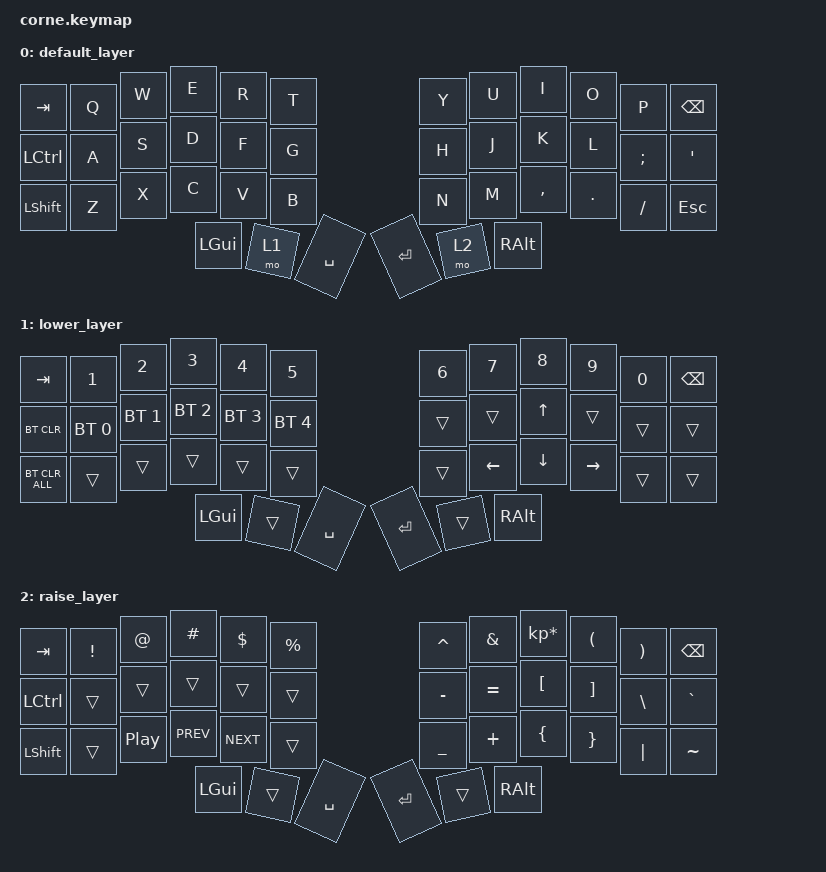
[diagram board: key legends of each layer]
/*
 * Copyright (c) 2020 The ZMK Contributors
 *
 * SPDX-License-Identifier: MIT
 */

#include <behaviors.dtsi>
#include <dt-bindings/zmk/bt.h>
#include <dt-bindings/zmk/keys.h>

/ {
    combos {
        compatible = "zmk,combos";

        combo_esc {
            bindings = <&kp ESCAPE>;
            key-positions = <1 2>;
        };

        combo_del {
            bindings = <&kp DELETE>;
            key-positions = <10 11>;
        };
    };

    keymap {
        compatible = "zmk,keymap";

        default_layer {
            // -----------------------------------------------------------------------------------------
            // |  TAB |  Q  |  W  |  E  |  R  |  T  |   |  Y  |  U   |  I  |  O  |  P  | BKSP |
            // | CTRL |  A  |  S  |  D  |  F  |  G  |   |  H  |  J   |  K  |  L  |  ;  |  '   |
            // | SHFT |  Z  |  X  |  C  |  V  |  B  |   |  N  |  M   |  ,  |  .  |  /  | ESC  |
            //                    | GUI | LWR | SPC |   | ENT | RSE  | ALT |

            bindings = <
&kp TAB    &kp Q  &kp W  &kp E     &kp R  &kp T      &kp Y    &kp U  &kp I      &kp O    &kp P     &kp BSPC
&kp LCTRL  &kp A  &kp S  &kp D     &kp F  &kp G      &kp H    &kp J  &kp K      &kp L    &kp SEMI  &kp SQT
&kp LSHFT  &kp Z  &kp X  &kp C     &kp V  &kp B      &kp N    &kp M  &kp COMMA  &kp DOT  &kp FSLH  &kp ESC
                         &kp LGUI  &mo 1  &kp SPACE  &kp RET  &mo 2  &kp RALT
            >;
        };

        lower_layer {
            // -----------------------------------------------------------------------------------------
            // |  TAB |  1  |  2  |  3  |  4  |  5  |   |  6  |  7  |  8  |  9  |  0  | BKSP |
            // | BTCLR| BT1 | BT2 | BT3 | BT4 | BT5 |   | LFT | DWN |  UP | RGT |     |      |
            // | SHFT |     |     |     |     |     |   |     |     |     |     |     |      |
            //                    | GUI |     | SPC |   | ENT |     | ALT |

            bindings = <
&kp TAB         &kp N1        &kp N2        &kp N3        &kp N4        &kp N5        &kp N6   &kp N7          &kp N8          &kp N9           &kp N0  &kp BSPC
&bt BT_CLR      &bt BT_SEL 0  &bt BT_SEL 1  &bt BT_SEL 2  &bt BT_SEL 3  &bt BT_SEL 4  &trans   &trans          &kp UP          &trans           &trans  &trans
&bt BT_CLR_ALL  &trans        &trans        &trans        &trans        &trans        &trans   &kp LEFT_ARROW  &kp DOWN_ARROW  &kp RIGHT_ARROW  &trans  &trans
                                            &kp LGUI      &trans        &kp SPACE     &kp RET  &trans          &kp RALT
            >;
        };

        raise_layer {
            // -----------------------------------------------------------------------------------------
            // |  TAB |  !  |  @  |  #  |  $  |  %  |   |  ^  |  &  |  *  |  (  |  )  | BKSP |
            // | CTRL |     |     |     |     |     |   |  -  |  =  |  [  |  ]  |  \  |  `   |
            // | SHFT |     |     |     |     |     |   |  _  |  +  |  {  |  }  | "|" |  ~   |
            //                    | GUI |     | SPC |   | ENT |     | ALT |

            bindings = <
&kp TAB    &kp EXCL  &kp AT            &kp HASH    &kp DLLR    &kp PRCNT  &kp CARET  &kp AMPS   &kp KP_MULTIPLY  &kp LPAR  &kp RPAR  &kp BSPC
&kp LCTRL  &trans    &trans            &trans      &trans      &trans     &kp MINUS  &kp EQUAL  &kp LBKT         &kp RBKT  &kp BSLH  &kp GRAVE
&kp LSHFT  &trans    &kp C_PLAY_PAUSE  &kp C_PREV  &kp C_NEXT  &trans     &kp UNDER  &kp PLUS   &kp LBRC         &kp RBRC  &kp PIPE  &kp TILDE
                                       &kp LGUI    &trans      &kp SPACE  &kp RET    &trans     &kp RALT
            >;
        };
    };
};
